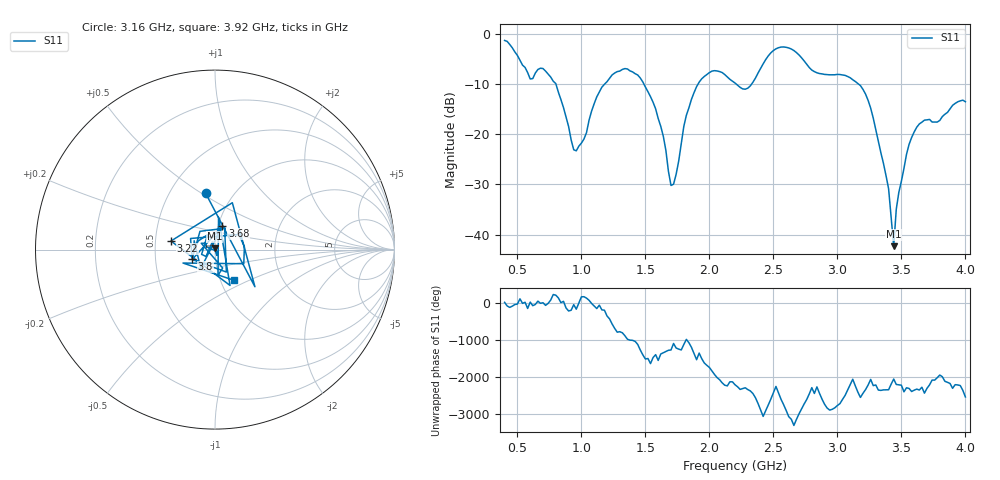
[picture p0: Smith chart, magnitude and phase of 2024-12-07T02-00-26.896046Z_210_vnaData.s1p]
!Created with skrf (http://scikit-rf.org).
# Hz S RI R 50.0
!freq ReS11 ImS11
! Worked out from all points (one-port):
!   181 points, 400 MHz to 4 GHz, reference 50 ohm
!   lowest |S11| = -42.3 dB at 3.44 GHz (marker M1), VSWR 1.02, Z = 49.9 + j0.766 ohm
!   |S11| at or under -10 dB: 800.5 MHz to 1.183 GHz (382.7 MHz wide, 38.6 % of centre); 1.487 GHz to 1.912 GHz (425.2 MHz wide, 25 % of centre); 3.163 GHz to end of sweep (the widest 3 of 4)
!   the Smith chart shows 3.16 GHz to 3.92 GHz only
!   S11 on the Smith chart (normalised r, x): 3.16 GHz: 0.75, +0.52; 3.22 GHz: 0.60, +0.06; 3.68 GHz: 1.05, +0.28; 3.8 GHz: 0.77, -0.08; 3.92 GHz: 1.16, -0.41
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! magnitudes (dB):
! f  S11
! 400 MHz  -1.4
! 600 MHz  -9.0
! 740 MHz  -8.0
! 860 MHz  -14.7
! 960 MHz  -23.3
! 1.16 GHz  -10.7
! 1.3 GHz  -7.5
! 1.44 GHz  -8.2
! 1.56 GHz  -13.7
! 1.64 GHz  -20.4
! 1.7 GHz  -30.2
! 1.76 GHz  -25.4
! 1.82 GHz  -16.3
! 1.92 GHz  -9.7
! 2.2 GHz  -9.8
! 2.3 GHz  -10.9
! 2.66 GHz  -3.4
! 3.1 GHz  -8.8
! 3.16 GHz  -9.9
! 3.22 GHz  -12.0
! 3.4 GHz  -30.9
! 3.44 GHz  -42.3
! 3.46 GHz  -34.9
! 3.56 GHz  -22.0
! 3.68 GHz  -17.2
! 3.8 GHz  -17.3
! 3.92 GHz  -13.9
! 4 GHz  -13.6
